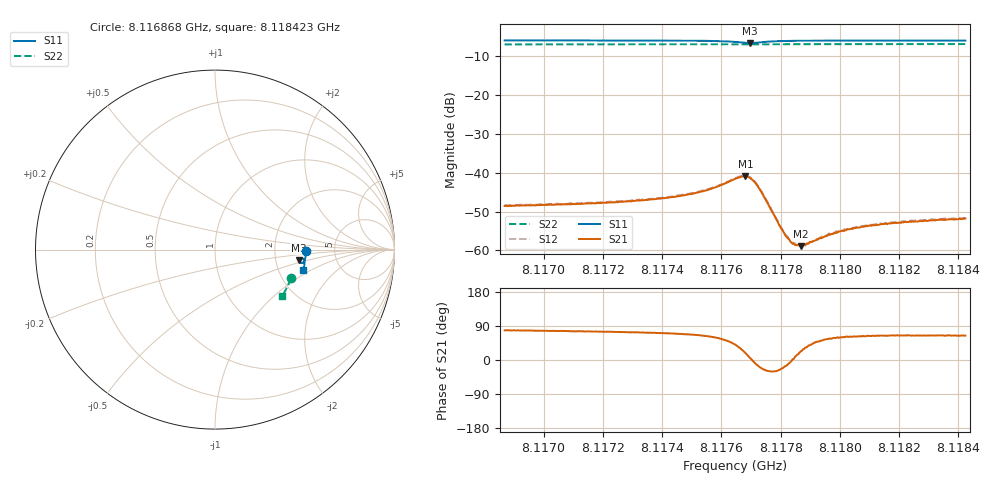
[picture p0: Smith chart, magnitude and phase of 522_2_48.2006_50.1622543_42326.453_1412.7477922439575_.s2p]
#  HZ  S  RI  R  50.00
! Rohde & Schwarz Vector Network Analyzer
! Rohde-Schwarz,ZNB20-2Port,1311601062101988,3.16
! Created: UTC 3/20/2024, 11:59:31 AM
! freq[Hz]  re:S11  im:S11  re:S21  im:S21  re:S12  im:S12  re:S22  im:S22
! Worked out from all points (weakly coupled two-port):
!   401 points, 8.116868 GHz to 8.118423 GHz, reference 50 ohm
!   highest |S21| = -40.92 dB at 8.117681 GHz (marker M1); lowest = -58.9 dB at 8.117867 GHz (marker M2)
!   lowest |S11| = -6.6 dB at 8.117696 GHz (marker M3), VSWR 2.77, Z = 135 - j20.6 ohm
!   |S11| at or under -10 dB: nowhere
!   |S22| runs from -6.9 to -6.8 dB; largest |S21 - S12| = 0.00023
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8.1168685e9  0.5068 -0.00561  0.000766 0.00366  0.000822 0.00373  0.4218 -0.1598
8.1171289e9  0.5056 -0.0261  0.00101 0.00388  0.00104 0.00395  0.4157 -0.177
8.1173894e9  0.5028 -0.0481  0.00149 0.00441  0.00154 0.00447  0.4089 -0.1938
8.1174827e9  0.5003 -0.0573  0.00196 0.00482  0.00206 0.00489  0.406 -0.1999
8.117541e9  0.4976 -0.0641  0.00255 0.00522  0.00266 0.00534  0.4043 -0.2035
8.1175876e9  0.4932 -0.07  0.00352 0.00567  0.00366 0.00571  0.4027 -0.2067
8.1176459e9  0.4798 -0.0753  0.00629 0.00547  0.00646 0.00556  0.4002 -0.2103
8.1176809e9  0.4676 -0.0677  0.00852 0.00287  0.00872 0.00286  0.3991 -0.2118
8.1176965e9  0.4659 -0.0594  0.00854 0.00081  0.00876 0.000806  0.3985 -0.2124
8.117712e9  0.4691 -0.0517  0.00753 -0.000943  0.0077 -0.000978  0.3984 -0.2132
8.1177276e9  0.4754 -0.0473  0.00598 -0.00191  0.00613 -0.00198  0.3982 -0.2138
8.1178014e9  0.4947 -0.0549  0.00177 -0.000775  0.00181 -0.000824  0.3968 -0.2188
8.1178208e9  0.4965 -0.0581  0.00143 -0.000364  0.00149 -0.0004  0.3964 -0.2201
8.1178325e9  0.4972 -0.0599  0.00129 -0.000135  0.00132 -0.000144  0.3959 -0.2211
8.1178442e9  0.4977 -0.0617  0.00122 6.34e-05  0.00125 7.44e-05  0.3955 -0.2215
8.1178675e9  0.4984 -0.0648  0.00105 0.000437  0.00111 0.000471  0.3949 -0.2232
8.1179064e9  0.4988 -0.0696  0.00096 0.000871  0.000945 0.000868  0.3936 -0.2256
8.1179569e9  0.4988 -0.075  0.000877 0.00126  0.000935 0.00128  0.3921 -0.229
8.1180074e9  0.4985 -0.08  0.000887 0.00155  0.000929 0.00156  0.3902 -0.232
8.118093e9  0.4975 -0.0877  0.000903 0.00188  0.000961 0.00186  0.3874 -0.2374
8.1181668e9  0.4964 -0.0938  0.000964 0.002  0.000983 0.00203  0.385 -0.242
8.1184234e9  0.4923 -0.1137  0.00111 0.00233  0.00111 0.00236  0.3756 -0.2575
